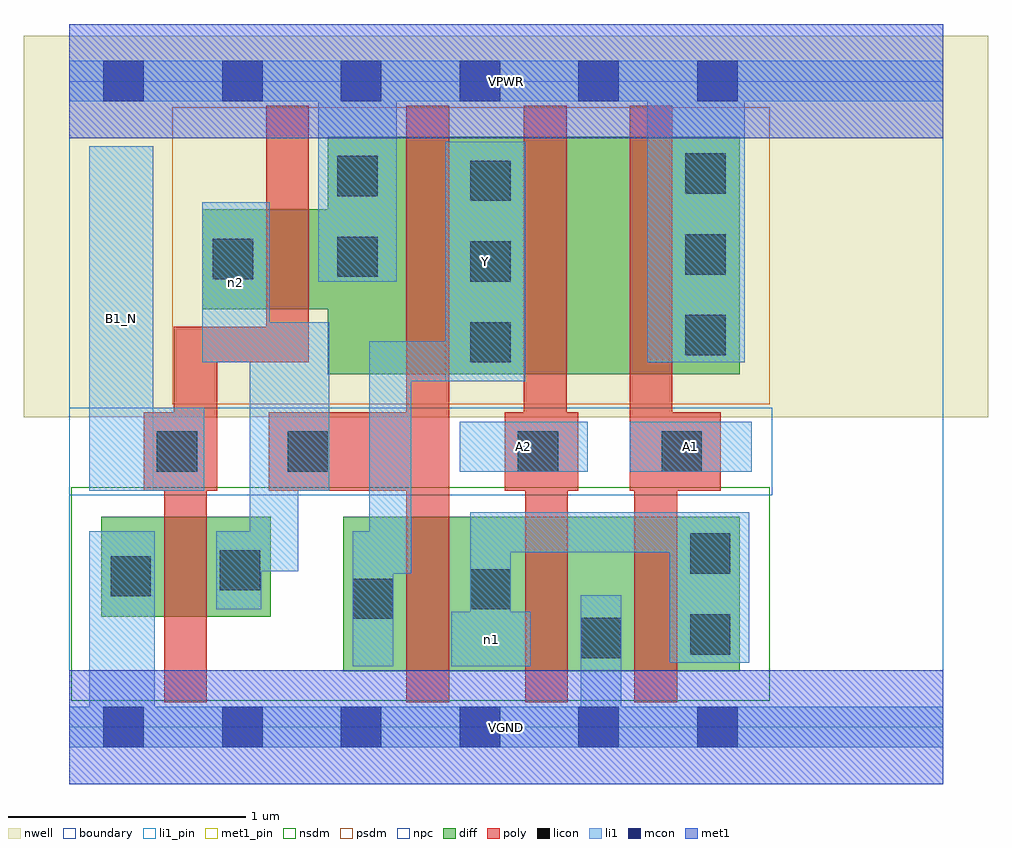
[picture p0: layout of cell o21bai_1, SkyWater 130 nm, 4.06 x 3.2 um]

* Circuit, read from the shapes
.subckt o21bai_1 A1 A2 B1_N VGND VPWR Y n1 n2
XM1 n2 B1_N VGND VSUBS sky130_fd_pr__nfet_01v8 w=0.42 l=0.18
XM2 n1 n2 Y VSUBS sky130_fd_pr__nfet_01v8 w=0.65 l=0.18
XM3 VGND A2 n1 VSUBS sky130_fd_pr__nfet_01v8 w=0.65 l=0.18
XM4 n1 A1 VGND VSUBS sky130_fd_pr__nfet_01v8 w=0.65 l=0.18
XM5 VPWR B1_N n2 n3 sky130_fd_pr__pfet_01v8 w=0.42 l=0.18
XM6 Y n2 VPWR n3 sky130_fd_pr__pfet_01v8 w=1 l=0.18
XM7 n4 A2 Y n3 sky130_fd_pr__pfet_01v8 w=1 l=0.18
XM8 VPWR A1 n4 n3 sky130_fd_pr__pfet_01v8 w=1 l=0.18
.ends

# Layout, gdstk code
import gdstk
lib = gdstk.Library(unit=1e-6, precision=1e-09)
def R(c, l, rs):  # rectangles x0, y0, x1, y1
    for r in rs: c.add(gdstk.rectangle(r[:2], r[2:], *l))
def A(c, l, x, y, w, h, nx, ny, dx, dy):  # array of equal rectangles
    R(c, l, [(x+i*dx, y+j*dy, x+i*dx+w, y+j*dy+h) for i in range(nx) for j in range(ny)])
nwell = (64, 20)
diff = (65, 20)
poly = (66, 20)
licon = (66, 44)
li1_pin = (67, 16)
li1 = (67, 20)
mcon = (67, 44)
met1_pin = (68, 16)
met1 = (68, 20)
nsdm = (93, 44)
psdm = (94, 20)
npc = (95, 20)
boundary = (235, 4)

o21bai_1 = lib.new_cell('o21bai_1')
R(o21bai_1, nwell, [(-0.19,1.305,3.87,2.91), (0,1.305,3.68,2.91)])
R(o21bai_1, diff, [(1.155,0.235,2.825,0.885), (0.135,0.465,0.85,0.885), (1.09,1.485,2.825,2.485), (0.56,1.76,2.825,2.18)])
R(o21bai_1, poly, [(0.4,0.105,0.58,1.325), (1.42,0.105,1.6,2.615), (1.92,0.105,2.1,1.325), (2.38,0.105,2.56,1.325), (0.315,0.995,0.625,1.325), (0.44,0.995,0.625,1.685), (0.84,0.995,1.6,1.325), (1.835,0.995,2.145,1.325), (1.915,0.995,2.095,2.615), (2.36,0.995,2.54,2.615), (2.36,0.995,2.745,1.325), (0.44,1.535,1.01,1.685), (0.83,1.535,1.01,2.615)])
A(o21bai_1, licon, 1.69, 1.535, 0.17, 0.17, 1, 3, 0, 0.34)
A(o21bai_1, licon, 2.595, 1.565, 0.17, 0.17, 1, 3, 0, 0.34)
R(o21bai_1, licon, [(2.155,0.29,2.325,0.46), (2.615,0.305,2.785,0.475), (1.195,0.455,1.365,0.625), (1.69,0.495,1.86,0.665), (0.175,0.55,0.345,0.72), (0.635,0.575,0.805,0.745), (2.615,0.645,2.785,0.815), (0.37,1.075,0.54,1.245), (0.92,1.075,1.09,1.245), (1.89,1.075,2.06,1.245), (2.495,1.075,2.665,1.245), (0.605,1.885,0.775,2.055), (1.13,1.895,1.3,2.065), (1.13,2.235,1.3,2.405)])
R(o21bai_1, li1_pin, [(0.085,0.995,0.355,2.445), (1.645,1.075,2.185,1.285), (2.36,1.075,2.875,1.285), (1.585,1.455,1.92,2.465)])
R(o21bai_1, li1, [(0,-0.085,3.68,0.085), (0.085,-0.085,0.36,0.825), (2.155,-0.085,2.325,0.555), (1.195,0.255,1.365,0.825), (1.61,0.255,1.945,0.485), (1.69,0.255,1.86,0.905), (2.53,0.27,2.865,0.905), (0.62,0.495,0.81,0.825), (1.265,0.645,1.44,1.625), (0.76,0.655,0.965,1.705), (1.69,0.735,2.865,0.905), (0.085,0.995,0.355,2.445), (0.085,0.995,0.57,1.345), (0.965,0.995,1.095,1.705), (1.645,1.075,2.185,1.285), (2.36,1.075,2.875,1.285), (1.265,1.455,1.92,1.625), (1.585,1.455,1.92,2.465), (0.56,1.535,0.845,2.21), (2.435,1.535,2.845,2.805), (1.05,1.875,1.38,2.805), (0,2.635,3.68,2.805)])
A(o21bai_1, mcon, 0.145, -0.085, 0.17, 0.17, 6, 2, 0.5, 2.72)
R(o21bai_1, met1_pin, [(0,-0.24,3.68,0.24), (0,2.48,3.68,2.96)])
R(o21bai_1, met1, [(0,-0.24,3.68,0.24), (0,2.48,3.68,2.96)])
R(o21bai_1, nsdm, [(0.01,0.11,2.95,1.01)])
R(o21bai_1, psdm, [(0.435,1.36,2.95,2.61)])
R(o21bai_1, npc, [(0,0.975,2.96,1.345)])
R(o21bai_1, boundary, [(0,0,3.68,2.72)])
o21bai_1.add(gdstk.Label('A1', (2.617,1.18), layer=67, texttype=5))
o21bai_1.add(gdstk.Label('A2', (1.915,1.18), layer=67, texttype=5))
o21bai_1.add(gdstk.Label('B1_N', (0.22,1.72), layer=67, texttype=5))
o21bai_1.add(gdstk.Label('Y', (1.752,1.96), layer=67, texttype=5))
o21bai_1.add(gdstk.Label('n1', (1.777,0.37), layer=67, texttype=5))
o21bai_1.add(gdstk.Label('n2', (0.702,1.872), layer=67, texttype=5))
o21bai_1.add(gdstk.Label('VPWR', (1.84,2.72), layer=68, texttype=5))
o21bai_1.add(gdstk.Label('VGND', (1.84,0), layer=68, texttype=5))
o21bai_1.add(gdstk.Label('A1', (2.617,1.18), layer=67, texttype=16))
o21bai_1.add(gdstk.Label('A2', (1.915,1.18), layer=67, texttype=16))
o21bai_1.add(gdstk.Label('B1_N', (0.22,1.72), layer=67, texttype=16))
o21bai_1.add(gdstk.Label('Y', (1.752,1.96), layer=67, texttype=16))
o21bai_1.add(gdstk.Label('VPWR', (1.84,2.72), layer=68, texttype=16))
o21bai_1.add(gdstk.Label('VGND', (1.84,0), layer=68, texttype=16))

lib.write_gds('o21bai_1.gds')
